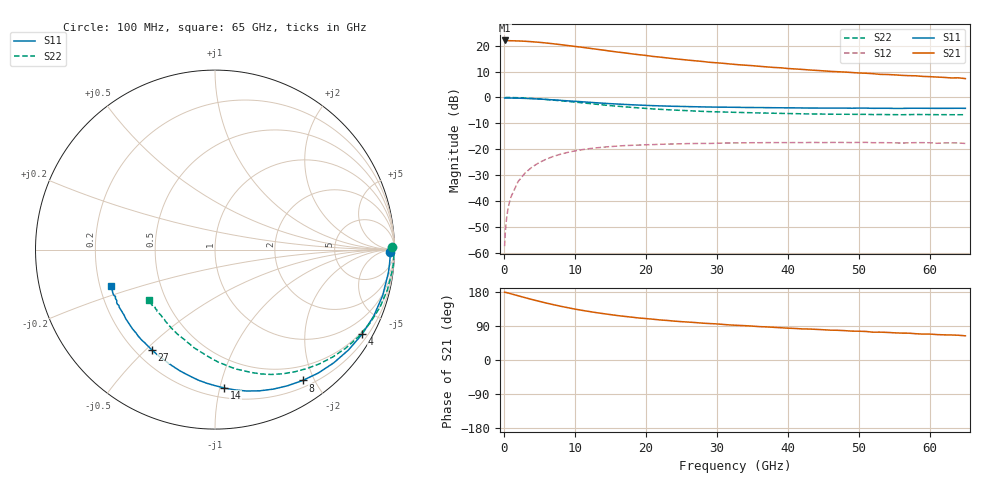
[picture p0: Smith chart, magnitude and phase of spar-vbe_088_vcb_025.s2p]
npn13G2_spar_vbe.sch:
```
<Qucs Schematic 24.2.1>
<Properties>
  <View=-32,-50,1485,845,0.785102,0,0>
  <Grid=10,10,1>
  <DataSet=npn13G2_spar_vbe.dat>
  <DataDisplay=npn13G2_spar_vbe.dpl>
  <OpenDisplay=0>
  <Script=Test_SYZ.m>
  <RunScript=0>
  <showFrame=0>
  <FrameText0=Title>
  <FrameText1=Drawn By:>
  <FrameText2=Date:>
  <FrameText3=Revision:>
</Properties>
<Symbol>
</Symbol>
<Components>
  <NutmegEq NutmegEq1 1 170 190 -30 18 0 0 "sp" 1 "gain=db((S_2_1))" 1 "Cbe=imag(v(Y_1_1)+v(Y_1_2))/(2*pi*frequency)" 1 "Cbc=-imag(v(Y_1_2))/(2*pi*frequency)" 1>
  <.SP SP1 1 20 80 0 71 0 0 "log" 1 "100 MHz" 1 "65 GHz" 1 "29" 1 "no" 1 "1" 0 "2" 0 "no" 0 "no" 0>
  <NutmegEq NutmegEq2 1 40 650 -27 16 0 0 "sp" 1 "S11_dB=dB(s_1_1)" 1 "S12_dB=dB(s_1_2)" 1 "S21_dB=dB(s_2_1)" 1 "S22_dB=dB(s_2_2)" 1>
  <Pac P3 1 300 710 -93 -26 1 1 "3" 1 "50 Ohm" 1 "0 dBm" 0 "1 GHz" 0 "26.85" 0 "true" 0>
  <Pac P4 1 480 710 18 -26 0 1 "4" 1 "50 Ohm" 1 "0 dBm" 0 "1 GHz" 0 "26.85" 0 "true" 0>
  <GND * 5 390 700 0 0 0 0>
  <GND * 5 300 750 0 0 0 0>
  <GND * 5 480 750 0 0 0 0>
  <.SW SW1 1 270 30 0 51 0 0 "SP1" 1 "list" 1 "Vbe" 1 "0.88" 0 "0.96" 0 "[0.78; 0.88; 0.96]" 1 "false" 0>
  <SPfile X3 1 390 660 -26 -59 0 0 "spar-vbe_088_vcb_025.s2p" 1 "rectangular" 0 "linear" 0 "open" 0 "2" 0>
  <GND * 1 590 280 0 0 0 0>
  <BiasT X1 1 590 190 -26 34 0 0 "1 H" 0 "1 F" 0>
  <GND * 1 690 280 0 0 0 0>
  <GND * 1 500 280 0 0 0 0>
  <Pac P1 1 500 250 18 -26 0 1 "1" 1 "50 Ohm" 1 "0 dBm" 0 "1 MHz" 0 "26.85" 0 "true" 0>
  <Vdc Vbe 1 590 250 18 -26 0 1 "Vbe" 1>
  <GND * 1 900 280 0 0 0 0>
  <Pac P2 1 900 250 18 -26 0 1 "2" 1 "50 Ohm" 1 "0 dBm" 0 "1 MHz" 0 "26.85" 0 "true" 0>
  <BiasT X2 1 810 160 -26 34 1 2 "1 H" 0 "1 F" 0>
  <GND * 1 810 280 0 0 0 0>
  <Vdc Vce 1 810 240 18 -26 0 1 "Vbe+Vcb" 1>
  <SpicePar SpicePar2 1 550 40 -28 16 0 0 "Vbe=0.88" 1 "Vcb=0.25" 1>
  <BJT_SPICE Q1 1 690 190 -26 34 0 0 "4" 1 "npn" 1 "X" 1 "npn13G2 nx=8" 1 "" 0 "" 0 "" 0 "" 0>
  <SpiceInclude SpiceInclude1 1 60 300 -33 16 0 0 "../Modelcards/SG13G2_hbt_woStatistics.hsp.lib" 1 "" 0 "" 0 "" 0 "" 0>
  <.CUSTOMSIM CUSTOM1 1 630 30 0 51 0 0 "\npre_osdi vbic_1p3.osdi\n" 1 "" 0 "" 0>
</Components>
<Wires>
  <300 740 300 750 "" 0 0 0 "">
  <480 740 480 750 "" 0 0 0 "">
  <390 690 390 700 "" 0 0 0 "">
  <480 660 480 680 "" 0 0 0 "">
  <420 660 480 660 "" 0 0 0 "">
  <300 660 300 680 "" 0 0 0 "">
  <300 660 360 660 "" 0 0 0 "">
  <620 190 660 190 "B" 650 160 15 "">
  <500 190 560 190 "" 0 0 0 "">
  <500 190 500 220 "" 0 0 0 "">
  <690 160 780 160 "C" 790 130 45 "">
  <900 160 900 220 "" 0 0 0 "">
  <840 160 900 160 "" 0 0 0 "">
  <720 190 720 240 "" 0 0 0 "">
  <690 220 690 240 "" 0 0 0 "">
  <690 240 690 280 "" 0 0 0 "">
  <690 240 720 240 "" 0 0 0 "">
  <810 190 810 210 "" 0 0 0 "">
  <810 270 810 280 "" 0 0 0 "">
</Wires>
<Diagrams>
  <Rect 70 560 240 160 3 #c0c0c0 1 00 1 0 0.2 1 1 -0.1 0.5 1.1 1 -0.1 0.5 1.1 315 0 225 1 0 0 "" "" "">
	<"ngspice/ac.v(s_1_1)" #0000ff 0 3 0 0 0>
	<"ngspice/ac.v(s_3_3)" #ff0000 0 3 0 0 0>
  </Rect>
  <Rect 400 560 240 160 3 #c0c0c0 1 00 1 0 0.2 1 1 -0.1 0.5 1.1 1 -0.1 0.5 1.1 315 0 225 1 0 0 "" "" "">
	<"ngspice/ac.v(s_1_2)" #0000ff 0 3 0 0 0>
	<"ngspice/ac.v(s_3_4)" #ff0000 0 3 0 0 0>
  </Rect>
  <Rect 710 560 240 160 3 #c0c0c0 1 00 1 0 0.2 1 1 -0.1 0.5 1.1 1 -0.1 0.5 1.1 315 0 225 1 0 0 "" "" "">
	<"ngspice/ac.v(s_2_1)" #0000ff 0 3 0 0 0>
	<"ngspice/ac.v(s_4_3)" #ff0000 0 3 0 0 0>
  </Rect>
  <Rect 1020 560 240 160 3 #c0c0c0 1 00 1 0 0.2 1 1 -0.1 0.5 1.1 1 -0.1 0.5 1.1 315 0 225 1 0 0 "" "" "">
	<"ngspice/ac.v(s_2_2)" #0000ff 0 3 0 0 0>
	<"ngspice/ac.v(s_4_4)" #ff0000 0 3 0 0 0>
  </Rect>
  <Rect 997 317 447 277 3 #c0c0c0 1 10 1 0 1e+09 1e+10 1 -17.5155 5 15 1 -1 0.5 1 315 0 225 0 0 0 "" "" "">
	<"ngspice/ac.gain" #0000ff 0 3 0 0 0>
  </Rect>
</Diagrams>
<Paintings>
  <Text 20 20 16 #ed333b 0 "S-Param">
</Paintings>
```
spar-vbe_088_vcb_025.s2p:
!ATF-54143
!s-parameters at Vbe=0.88V Last updated 17/05/01 AR.
# HZ S RI R 50
! Freq  S11  S21  S12  S22
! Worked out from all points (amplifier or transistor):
!   74 points, 100 MHz to 65 GHz, reference 50 ohm
!   highest |S21| = 22.0 dB at 100 MHz (marker M1)
!   |S21| within 3 dB of that: start of sweep to 11.98 GHz
!   unconditionally stable (mu >= 1): nowhere
!   at 4 GHz: K = 0.04, MSG = 24.2 dB, |S12| = -26.8 dB
!   at 29 GHz: K = 0.30, MSG = 15.7 dB, |S12| = -17.8 dB
!   at 65 GHz: K = 0.68, MSG = 12.5 dB, |S12| = -17.8 dB
!   S11 on the Smith chart (normalised r, x): 100 MHz: 62, -33; 4 GHz: 0.41, -3.69; 8 GHz: 0.29, -1.84; 14 GHz: 0.27, -1.03; 27 GHz: 0.26, -0.52; 65 GHz: 0.24, -0.16
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1e8  0.9751 -0.0131  -12.63 0.2717  8.93e-06 0.00134  0.9834 0.0145
1e9  0.9656 -0.1304  -12.41 1.144  0.00104 0.0119  0.9896 -0.1095
4e9  0.8192 -0.4722  -11.16 4.188  0.0149 0.043  0.8633 -0.4098
6e9  0.661 -0.6313  -9.767 5.607  0.0299 0.0572  0.729 -0.5487
8e9  0.4889 -0.729  -8.236 6.483  0.0463 0.0655  0.5822 -0.6365
1.1e10  0.2482 -0.7868  -6.125 7.026  0.069 0.0693  0.3769 -0.6919
1.4e10  0.0529 -0.7713  -4.405 6.944  0.0871 0.0662  0.2079 -0.6855
1.9e10  -0.1635 -0.6925  -2.389 6.266  0.1064 0.0561  0.0207 -0.6281
2.7e10  -0.35 -0.5606  -0.7768 5.041  0.1221 0.041  -0.139 -0.5276
3.3e10  -0.4304 -0.4787  -0.1042 4.294  0.1285 0.0311  -0.2118 -0.4685
6.5e10  -0.5816 -0.2032  1.021 2.076  0.1285 -0.0109  -0.3665 -0.2832
